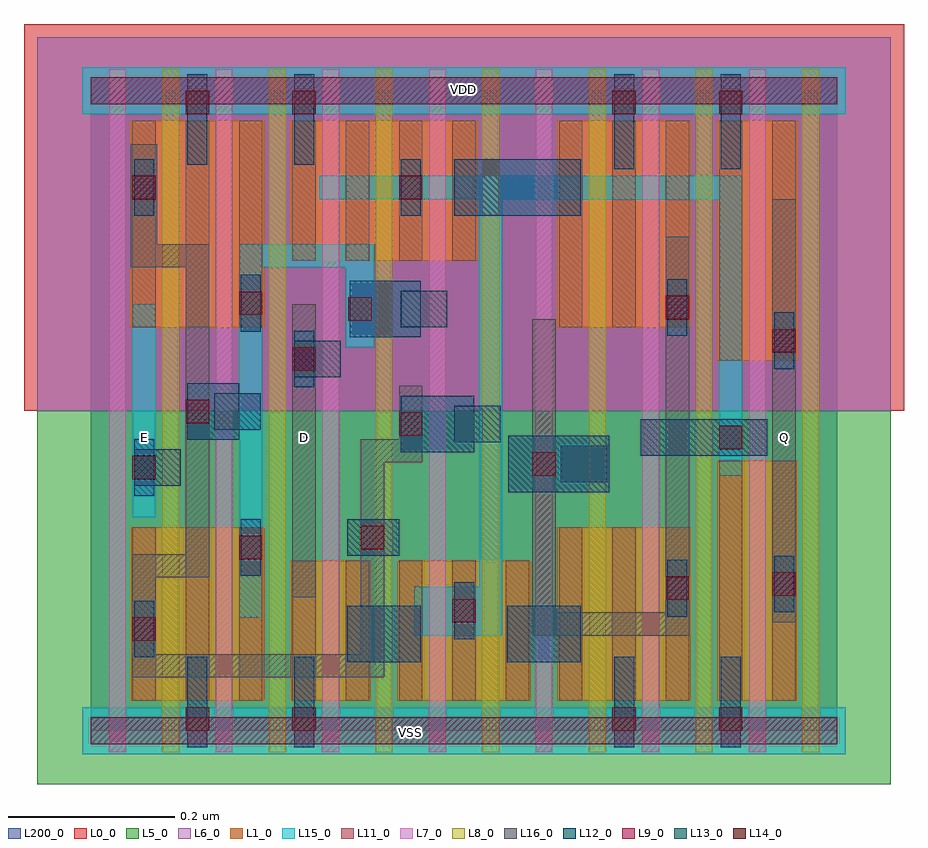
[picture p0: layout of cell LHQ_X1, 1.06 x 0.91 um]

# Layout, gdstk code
import gdstk
lib = gdstk.Library(unit=1e-6, precision=1e-09)
def R(c, l, rs):  # rectangles x0, y0, x1, y1
    for r in rs: c.add(gdstk.rectangle(r[:2], r[2:], *l))
def A(c, l, x, y, w, h, nx, ny, dx, dy):  # array of equal rectangles
    R(c, l, [(x+i*dx, y+j*dy, x+i*dx+w, y+j*dy+h) for i in range(nx) for j in range(ny)])
def P(c, l, *ps):  # polygons
    for p in ps: c.add(gdstk.Polygon(p, *l))
L0_0 = (0, 0)
L1_0 = (1, 0)
L5_0 = (5, 0)
L6_0 = (6, 0)
L7_0 = (7, 0)
L8_0 = (8, 0)
L9_0 = (9, 0)
L11_0 = (11, 0)
L12_0 = (12, 0)
L13_0 = (13, 0)
L14_0 = (14, 0)
L15_0 = (15, 0)
L16_0 = (16, 0)
L200_0 = (200, 0)

lhq_x1 = lib.new_cell('LHQ_X1')
R(lhq_x1, L0_0, [(-0.08,0.384,0.976,0.848)])
R(lhq_x1, L1_0, [(0.048,0.036,0.208,0.244), (0.24,0.036,0.336,0.204), (0.368,0.036,0.528,0.204), (0.56,0.036,0.72,0.244), (0.752,0.036,0.848,0.324), (0.752,0.444,0.848,0.732), (0.048,0.484,0.208,0.732), (0.56,0.484,0.72,0.732), (0.24,0.564,0.464,0.732)])
R(lhq_x1, L5_0, [(-0.064,-0.064,0.96,0.384)])
R(lhq_x1, L6_0, [(-0.064,0.384,0.96,0.832)])
A(lhq_x1, L7_0, 0.022, -0.026, 0.02, 0.82, 7, 1, 0.128, 0)
A(lhq_x1, L8_0, 0.086, -0.026, 0.02, 0.82, 7, 1, 0.128, 0)
R(lhq_x1, L9_0, [(0,-0.016,0.896,0.016), (0,0.752,0.896,0.784)])
A(lhq_x1, L11_0, 0.05, 0.036, 0.028, 0.208, 3, 1, 0.064, 0)
A(lhq_x1, L11_0, 0.242, 0.036, 0.028, 0.168, 5, 1, 0.064, 0)
A(lhq_x1, L11_0, 0.562, 0.036, 0.028, 0.208, 3, 1, 0.064, 0)
A(lhq_x1, L11_0, 0.05, 0.484, 0.028, 0.248, 3, 1, 0.064, 0)
A(lhq_x1, L11_0, 0.562, 0.484, 0.028, 0.248, 3, 1, 0.064, 0)
A(lhq_x1, L11_0, 0.242, 0.564, 0.028, 0.168, 4, 1, 0.064, 0)
R(lhq_x1, L11_0, [(0.754,0.036,0.782,0.324), (0.818,0.036,0.846,0.324), (0.754,0.444,0.782,0.732), (0.818,0.444,0.846,0.732)])
R(lhq_x1, L12_0, [(0.116,-0.02,0.14,0.089), (0.244,-0.02,0.268,0.089), (0.628,-0.02,0.652,0.089), (0.756,-0.02,0.78,0.089), (0.308,0.082,0.396,0.15), (0.5,0.082,0.588,0.15), (0.052,0.088,0.076,0.156), (0.436,0.11,0.46,0.178), (0.692,0.137,0.716,0.205), (0.82,0.142,0.844,0.21), (0.18,0.186,0.204,0.254), (0.052,0.282,0.076,0.35), (0.501,0.286,0.622,0.354), (0.372,0.334,0.46,0.402), (0.116,0.349,0.178,0.417), (0.244,0.412,0.268,0.48), (0.82,0.434,0.844,0.502), (0.311,0.472,0.396,0.54), (0.692,0.474,0.716,0.542), (0.18,0.479,0.204,0.547), (0.052,0.618,0.076,0.686), (0.372,0.618,0.396,0.686), (0.436,0.618,0.588,0.686), (0.628,0.674,0.652,0.788), (0.756,0.674,0.78,0.788), (0.116,0.679,0.14,0.788), (0.244,0.679,0.268,0.788)])
R(lhq_x1, L13_0, [(0.308,0.21,0.37,0.254), (0.052,0.294,0.108,0.338), (0.564,0.298,0.62,0.342), (0.66,0.33,0.812,0.374), (0.436,0.346,0.492,0.39), (0.148,0.361,0.204,0.405), (0.244,0.424,0.3,0.468), (0.372,0.484,0.428,0.528)])
R(lhq_x1, L14_0, [(0.114,0,0.142,0.028), (0.242,0,0.27,0.028), (0.626,0,0.654,0.028), (0.754,0,0.782,0.028), (0.05,0.108,0.078,0.136), (0.434,0.13,0.462,0.158), (0.69,0.157,0.718,0.185), (0.818,0.162,0.846,0.19), (0.178,0.206,0.206,0.234), (0.324,0.218,0.352,0.246), (0.05,0.302,0.078,0.33), (0.53,0.306,0.558,0.334), (0.754,0.338,0.782,0.366), (0.37,0.354,0.398,0.382), (0.114,0.369,0.142,0.397), (0.242,0.432,0.27,0.46), (0.818,0.454,0.846,0.482), (0.309,0.492,0.337,0.52), (0.69,0.494,0.718,0.522), (0.178,0.499,0.206,0.527), (0.05,0.638,0.078,0.666), (0.37,0.638,0.398,0.666), (0.114,0.74,0.142,0.768), (0.242,0.74,0.27,0.768), (0.626,0.74,0.654,0.768), (0.754,0.74,0.782,0.768)])
R(lhq_x1, L15_0, [(-0.01,-0.028,0.906,0.028), (0.05,0.256,0.078,0.512), (-0.01,0.74,0.906,0.796)])
P(lhq_x1, L15_0, [(0.178,0.136),(0.206,0.136),(0.206,0.556),(0.306,0.556),(0.306,0.46),(0.34,0.46),(0.34,0.584),(0.178,0.584)],
  [(0.274,0.638),(0.466,0.638),(0.466,0.173),(0.388,0.173),(0.388,0.114),(0.494,0.114),(0.494,0.637),(0.754,0.637),(0.754,0.306),(0.782,0.306),(0.782,0.666),(0.274,0.666)])
R(lhq_x1, L16_0, [(0.818,0.13,0.846,0.638), (0.242,0.16,0.27,0.512)])
P(lhq_x1, L16_0, [(0.048,0.556),(0.114,0.556),(0.114,0.212),(0.05,0.212),(0.05,0.064),(0.352,0.064),(0.352,0.322),(0.398,0.322),(0.398,0.414),(0.37,0.414),(0.37,0.35),(0.324,0.35),(0.324,0.092),(0.078,0.092),(0.078,0.184),(0.142,0.184),(0.142,0.584),(0.08,0.584),(0.08,0.704),(0.048,0.704)],
  [(0.53,0.114),(0.718,0.114),(0.718,0.593),(0.69,0.593),(0.69,0.142),(0.558,0.142),(0.558,0.494),(0.53,0.494)])
R(lhq_x1, L200_0, [(0,0,0.896,0.768)])
lhq_x1.add(gdstk.Label('VSS', (0.384,-0.002), layer=15, texttype=20))
lhq_x1.add(gdstk.Label('E', (0.064,0.352), layer=15, texttype=20))
lhq_x1.add(gdstk.Label('VDD', (0.447,0.769), layer=15, texttype=20))
lhq_x1.add(gdstk.Label('D', (0.256,0.352), layer=16, texttype=20))
lhq_x1.add(gdstk.Label('Q', (0.832,0.352), layer=16, texttype=20))

lib.write_gds('LHQ_X1.gds')
